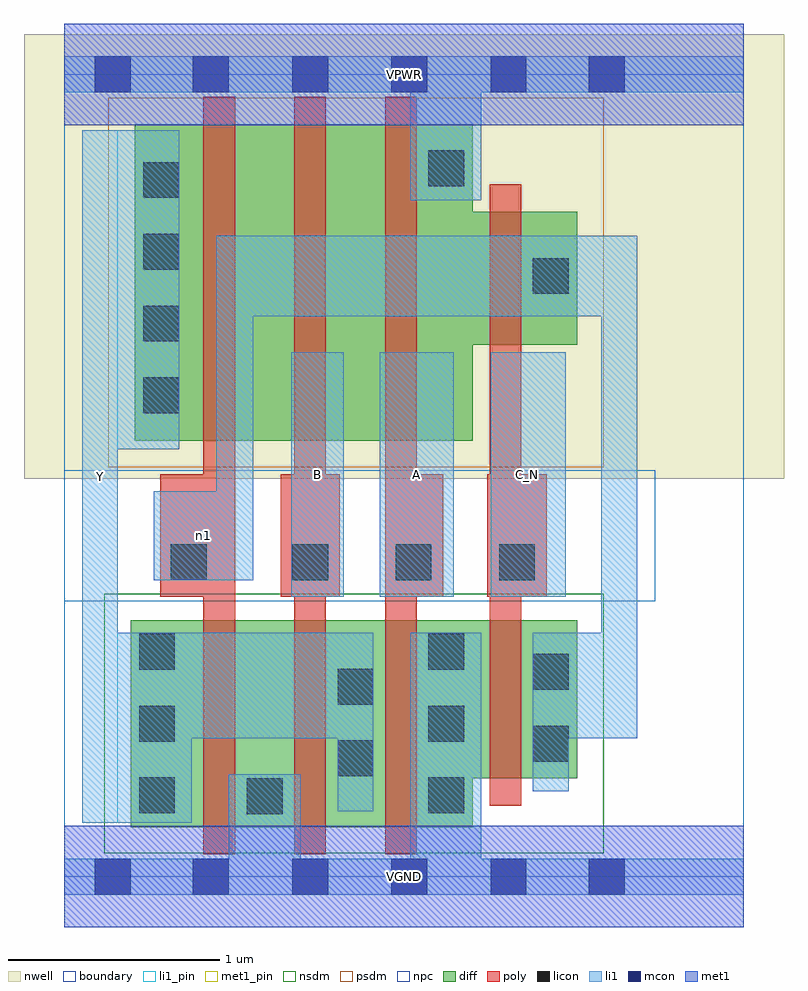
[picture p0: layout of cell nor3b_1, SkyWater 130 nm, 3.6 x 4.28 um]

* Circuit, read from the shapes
.subckt nor3b_1 A B C_N VGND VPWR Y n1
XM1 VGND n1 Y VSUBS sky130_fd_pr__nfet_01v8 w=0.98 l=0.15
XM2 Y B VGND VSUBS sky130_fd_pr__nfet_01v8 w=0.98 l=0.15
XM3 VGND A Y VSUBS sky130_fd_pr__nfet_01v8 w=0.98 l=0.15
XM4 n1 C_N VGND VSUBS sky130_fd_pr__nfet_01v8 w=0.75 l=0.15
XM5 n2 n1 Y n3 sky130_fd_pr__pfet_01v8 w=1.5 l=0.15
XM6 n4 B n2 n3 sky130_fd_pr__pfet_01v8 w=1.5 l=0.15
XM7 VPWR A n4 n3 sky130_fd_pr__pfet_01v8 w=1.5 l=0.15
XM8 n1 C_N VPWR n3 sky130_fd_pr__pfet_01v8 w=0.63 l=0.15
.ends

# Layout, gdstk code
import gdstk
lib = gdstk.Library(unit=1e-6, precision=1e-09)
def R(c, l, rs):  # rectangles x0, y0, x1, y1
    for r in rs: c.add(gdstk.rectangle(r[:2], r[2:], *l))
def A(c, l, x, y, w, h, nx, ny, dx, dy):  # array of equal rectangles
    R(c, l, [(x+i*dx, y+j*dy, x+i*dx+w, y+j*dy+h) for i in range(nx) for j in range(ny)])
nwell = (64, 20)
diff = (65, 20)
poly = (66, 20)
licon = (66, 44)
li1_pin = (67, 16)
li1 = (67, 20)
mcon = (67, 44)
met1_pin = (68, 16)
met1 = (68, 20)
nsdm = (93, 44)
psdm = (94, 20)
npc = (95, 20)
boundary = (235, 4)

nor3b_1 = lib.new_cell('nor3b_1')
R(nor3b_1, nwell, [(-0.19,1.885,3.41,3.99), (0,1.885,3.22,3.99)])
R(nor3b_1, diff, [(0.315,0.235,1.935,1.215), (0.315,0.465,2.43,1.215), (0.335,2.065,1.935,3.565), (0.335,2.52,2.43,3.15)])
A(nor3b_1, poly, 0.66, 0.105, 0.15, 3.59, 3, 1, 0.43, 0)
R(nor3b_1, poly, [(2.015,0.335,2.165,3.28), (0.455,1.325,0.81,1.905), (1.025,1.325,1.305,1.905), (1.52,1.325,1.795,1.905), (2.005,1.325,2.285,1.905)])
A(nor3b_1, licon, 0.355, 0.3, 0.17, 0.17, 1, 3, 0, 0.34)
A(nor3b_1, licon, 1.725, 0.3, 0.17, 0.17, 1, 3, 0, 0.34)
A(nor3b_1, licon, 1.08, 1.405, 0.17, 0.17, 3, 1, 0.49, 0)
A(nor3b_1, licon, 0.375, 2.195, 0.17, 0.17, 1, 4, 0, 0.34)
R(nor3b_1, licon, [(0.865,0.295,1.035,0.465), (1.295,0.475,1.465,0.645), (2.22,0.545,2.39,0.715), (1.295,0.815,1.465,0.985), (2.22,0.885,2.39,1.055), (0.505,1.405,0.675,1.575), (2.22,2.76,2.39,2.93), (1.725,3.27,1.895,3.44)])
R(nor3b_1, li1_pin, [(0.085,0.255,0.255,3.535), (1.075,1.325,1.325,2.485), (1.495,1.325,1.845,2.485), (2.02,1.325,2.375,2.485)])
R(nor3b_1, li1, [(0,-0.085,3.22,0.085), (0.78,-0.085,1.12,0.485), (1.64,-0.085,1.975,1.155), (0.085,0.255,0.605,1.155), (0.085,0.255,0.255,3.535), (1.295,0.31,1.465,1.155), (2.22,0.405,2.39,1.155), (0.085,0.655,1.465,1.155), (2.22,0.655,2.715,1.155), (2.545,0.655,2.715,3.035), (1.075,1.325,1.325,2.485), (1.495,1.325,1.845,2.485), (2.02,1.325,2.375,2.485), (0.425,1.405,0.895,1.825), (0.72,1.405,0.895,3.035), (0.085,2.025,0.545,3.535), (0.72,2.655,2.715,3.035), (1.64,3.205,1.975,3.885), (0,3.715,3.22,3.885)])
A(nor3b_1, mcon, 0.61, -0.085, 0.17, 0.17, 4, 2, 0.47, 3.8)
R(nor3b_1, mcon, [(0.145,-0.085,0.315,0.085), (2.485,-0.085,2.655,0.085), (0.145,3.715,0.315,3.885), (2.485,3.715,2.655,3.885)])
R(nor3b_1, met1_pin, [(0,-0.24,3.22,0.24), (0,3.56,3.22,4.04)])
R(nor3b_1, met1, [(0,-0.24,3.22,0.24), (0,3.56,3.22,4.04)])
R(nor3b_1, nsdm, [(0.19,0.11,2.555,1.34)])
R(nor3b_1, psdm, [(0.21,1.94,2.555,3.69)])
R(nor3b_1, npc, [(0,1.305,2.8,1.925)])
R(nor3b_1, boundary, [(0,0,3.22,3.8)])
nor3b_1.add(gdstk.Label('A', (1.67,1.905), layer=67, texttype=5))
nor3b_1.add(gdstk.Label('B', (1.2,1.905), layer=67, texttype=5))
nor3b_1.add(gdstk.Label('C_N', (2.197,1.905), layer=67, texttype=5))
nor3b_1.add(gdstk.Label('Y', (0.17,1.895), layer=67, texttype=5))
nor3b_1.add(gdstk.Label('n1', (0.66,1.615), layer=67, texttype=5))
nor3b_1.add(gdstk.Label('VPWR', (1.61,3.8), layer=68, texttype=5))
nor3b_1.add(gdstk.Label('VGND', (1.61,0), layer=68, texttype=5))
nor3b_1.add(gdstk.Label('A', (1.67,1.905), layer=67, texttype=16))
nor3b_1.add(gdstk.Label('B', (1.2,1.905), layer=67, texttype=16))
nor3b_1.add(gdstk.Label('C_N', (2.197,1.905), layer=67, texttype=16))
nor3b_1.add(gdstk.Label('Y', (0.17,1.895), layer=67, texttype=16))
nor3b_1.add(gdstk.Label('VPWR', (1.61,3.8), layer=68, texttype=16))
nor3b_1.add(gdstk.Label('VGND', (1.61,0), layer=68, texttype=16))

lib.write_gds('nor3b_1.gds')
